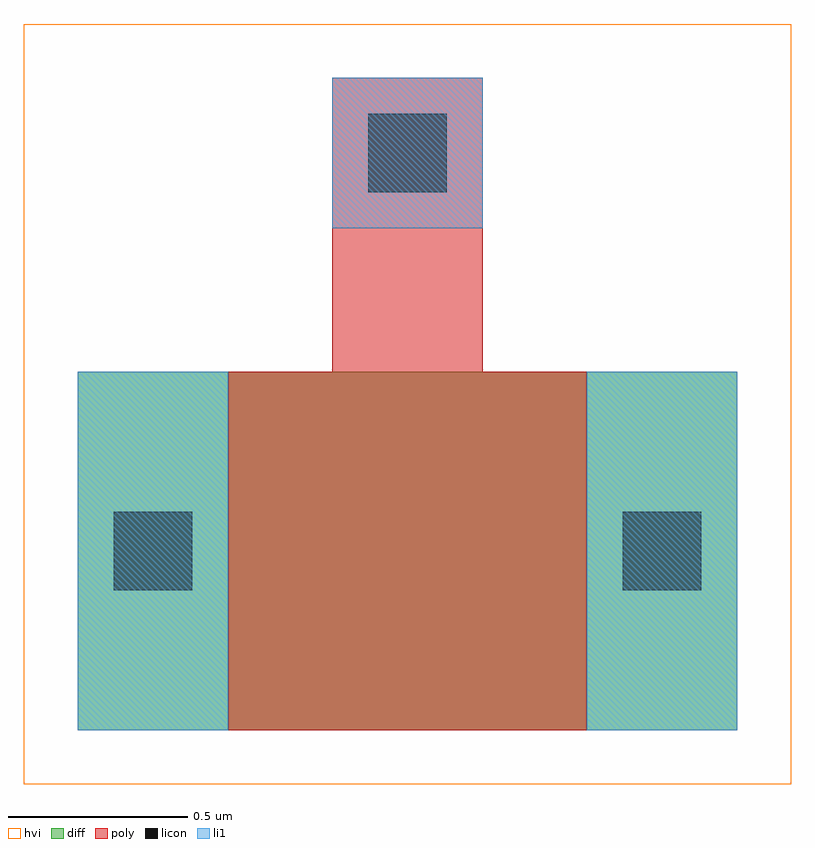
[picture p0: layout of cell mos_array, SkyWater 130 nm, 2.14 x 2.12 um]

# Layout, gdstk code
import gdstk
lib = gdstk.Library(unit=1e-6, precision=1e-09)
def R(c, l, rs):  # rectangles x0, y0, x1, y1
    for r in rs: c.add(gdstk.rectangle(r[:2], r[2:], *l))
diff = (65, 20)
poly = (66, 20)
licon = (66, 44)
li1 = (67, 20)
hvi = (75, 20)

mos_array = lib.new_cell('mos_array')
R(mos_array, diff, [(0,0,1.84,1)])
R(mos_array, poly, [(0.42,0,1.42,1), (0.71,1,1.13,1.82)])
R(mos_array, licon, [(0.1,0.39,0.32,0.61), (1.52,0.39,1.74,0.61), (0.81,1.5,1.03,1.72)])
R(mos_array, li1, [(0,0,0.42,1), (1.42,0,1.84,1), (0.71,1.4,1.13,1.82)])
R(mos_array, hvi, [(-0.15,-0.15,1.99,1.97)])

lib.write_gds('mos_array.gds')
